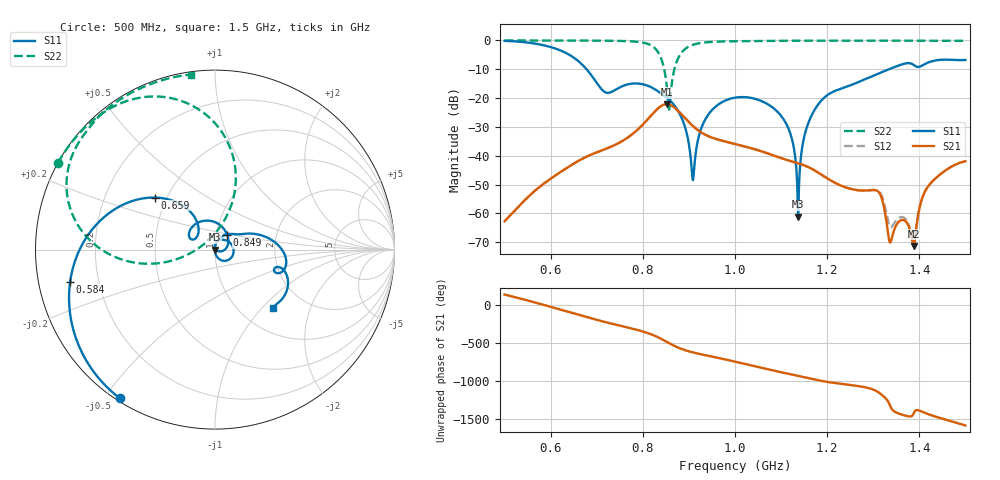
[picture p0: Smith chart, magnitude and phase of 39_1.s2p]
! TOUCHSTONE file generated by CST MICROWAVE STUDIO
! Date and time: Fri Oct  2 17:14:30 2020
! Project name: Scenario_1_Free_Space_out_of_line.cst
! Parameters = {Lambda=346.42; Step_1=17.321; dy1=-311.318; dx1=173; L_HA=400; MT=2.54; Rad_Dielectric=30; Rad_Lower=7.3; Rad_Upper=30; a_HA=580; a_WG=246; b_HA=500; b_WG=121; c_HA=0; c_WG=187; d_feed=85; h_feed=15; h_lower=18; h_upper=40}
! Header version: 2018
! Port assignment regex: !\s*Touchstone port\s*([0-9]+)\s*=\s*(CST MWS port|CST DS port)\s*([0-9]+|Zmin|Zmax)\s*\(\"(.*)\"\)(\s*mode\s*([0-9]+))?.*
! Touchstone port assignment:
! Touchstone port 1 = CST MWS port 1 ("")
! Touchstone port 2 = CST MWS port 2 ("")
# GHz S DB R 50
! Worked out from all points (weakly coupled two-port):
!   1003 points, 500 MHz to 1.5 GHz, reference 50 ohm
!   highest |S21| = -22.10 dB at 852 MHz (marker M1); lowest = -71.3 dB at 1.388 GHz (marker M2)
!   lowest |S11| = -61.1 dB at 1.137 GHz (marker M3), VSWR 1.00, Z = 49.9 - j0.000162 ohm
!   |S11| at or under -10 dB: 677.9 MHz to 1.334 GHz (656.1 MHz wide, 65.2 % of centre)
!   |S22| runs from -24.0 to 0.0 dB; largest |S21 - S12| = 0.00031
!   S11 on the Smith chart (normalised r, x): 500 MHz: 0.01, -0.55; 584 MHz: 0.10, -0.11; 659 MHz: 0.43, +0.31; 849 MHz: 1.13, +0.18; 1.5 GHz: 1.39, -1.15
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0.5  -0.15 -122.7  -62.69 132.3  -62.69 132.3  -0.01 151.1
0.584  -1.65 -167.4  -49.79 -1.4  -49.79 -1.4  -0.01 145.3
0.659  -7.04 139.3  -41.88 -128.0  -41.88 -128.0  -0.04 139.0
0.667  -8.17 133.7  -41.17 -141.9  -41.18 -141.9  -0.04 138.3
0.72  -18.08 140.7  -37.56 130.2  -37.56 130.2  -0.10 132.2
0.834  -17.75 70.2  -23.41 -69.2  -23.41 -69.2  -4.32 83.6
0.849  -19.50 49.7  -22.13 -116.7  -22.13 -116.7  -12.32 69.9
0.852  -19.87 45.3  -22.10 -126.6  -22.10 -126.6  -15.98 73.3
0.887  -27.94 -12.4  -26.16 134.9  -26.16 134.9  -3.68 178.6
0.909  -48.41 44.0  -29.72 95.4  -29.72 95.4  -1.49 163.8
0.937  -26.96 76.4  -32.82 58.2  -32.82 58.2  -0.66 152.5
1  -19.83 4.3  -35.91 -24.4  -35.91 -24.4  -0.27 140.0
1.101  -26.35 -71.1  -40.85 -164.0  -40.85 -164.0  -0.12 129.6
1.123  -33.84 -84.5  -41.94 167.8  -41.94 167.8  -0.11 127.7
1.137  -61.15 -179.9  -42.60 149.4  -42.60 149.4  -0.10 126.5
1.167  -25.74 73.9  -44.55 108.6  -44.54 108.6  -0.09 124.1
1.31  -11.57 18.0  -52.29 -59.9  -52.16 -59.6  -0.09 113.2
1.334  -10.00 10.2  -68.81 154.5  -63.74 149.7  -0.09 111.4
1.365  -8.18 -4.3  -62.27 -2.3  -61.33 0.9  -0.10 109.0
1.388  -8.51 -20.5  -71.27 23.1  -71.17 27.0  -0.10 107.2
1.417  -7.82 -17.3  -51.09 14.0  -51.08 13.7  -0.10 104.9
1.5  -6.77 -45.6  -41.88 -138.6  -41.90 -138.6  -0.14 97.8
